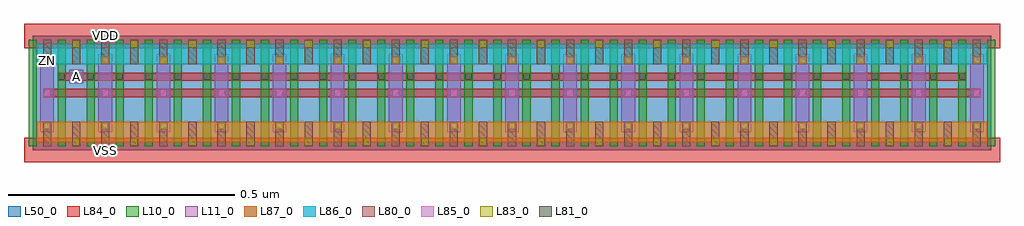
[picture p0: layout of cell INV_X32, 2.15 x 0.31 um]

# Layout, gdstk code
import gdstk
lib = gdstk.Library(unit=1e-6, precision=1e-09)
def R(c, l, rs):  # rectangles x0, y0, x1, y1
    for r in rs: c.add(gdstk.rectangle(r[:2], r[2:], *l))
def A(c, l, x, y, w, h, nx, ny, dx, dy):  # array of equal rectangles
    R(c, l, [(x+i*dx, y+j*dy, x+i*dx+w, y+j*dy+h) for i in range(nx) for j in range(ny)])
L10_0 = (10, 0)
L11_0 = (11, 0)
L50_0 = (50, 0)
L80_0 = (80, 0)
L81_0 = (81, 0)
L83_0 = (83, 0)
L84_0 = (84, 0)
L85_0 = (85, 0)
L86_0 = (86, 0)
L87_0 = (87, 0)

inv_x32 = lib.new_cell('INV_X32')
A(inv_x32, L10_0, 0.077, 0.263, 0.018, 0.234, 5, 1, 0.064, 0)
A(inv_x32, L10_0, 0.397, 0.263, 0.018, 0.234, 4, 1, 0.064, 0)
A(inv_x32, L10_0, 0.653, 0.263, 0.018, 0.234, 4, 1, 0.064, 0)
A(inv_x32, L10_0, 0.909, 0.263, 0.018, 0.234, 4, 1, 0.064, 0)
A(inv_x32, L10_0, 1.165, 0.263, 0.018, 0.234, 4, 1, 0.064, 0)
A(inv_x32, L10_0, 1.421, 0.263, 0.018, 0.234, 4, 1, 0.064, 0)
A(inv_x32, L10_0, 1.677, 0.263, 0.018, 0.234, 4, 1, 0.064, 0)
A(inv_x32, L10_0, 1.933, 0.263, 0.018, 0.234, 5, 1, 0.064, 0)
R(inv_x32, L10_0, [(0.333,0.263,0.351,0.497), (0.397,0.263,0.415,0.497), (0.589,0.263,0.607,0.497), (0.653,0.263,0.671,0.497), (0.845,0.263,0.863,0.497), (0.909,0.263,0.927,0.497), (1.101,0.263,1.119,0.497), (1.165,0.263,1.183,0.497), (1.357,0.263,1.375,0.497), (1.421,0.263,1.439,0.497), (1.613,0.263,1.631,0.497), (1.677,0.263,1.695,0.497), (1.869,0.263,1.887,0.497), (1.933,0.263,1.951,0.497)])
A(inv_x32, L11_0, 0.103, 0.293, 0.03, 0.174, 3, 1, 0.128, 0)
A(inv_x32, L11_0, 0.359, 0.293, 0.03, 0.174, 3, 1, 0.128, 0)
A(inv_x32, L11_0, 0.615, 0.293, 0.03, 0.174, 3, 1, 0.128, 0)
A(inv_x32, L11_0, 0.871, 0.293, 0.03, 0.174, 3, 1, 0.128, 0)
A(inv_x32, L11_0, 1.127, 0.293, 0.03, 0.174, 3, 1, 0.128, 0)
A(inv_x32, L11_0, 1.383, 0.293, 0.03, 0.174, 3, 1, 0.128, 0)
A(inv_x32, L11_0, 1.639, 0.293, 0.03, 0.174, 3, 1, 0.128, 0)
A(inv_x32, L11_0, 1.895, 0.293, 0.03, 0.174, 3, 1, 0.128, 0)
R(inv_x32, L11_0, [(0.167,0.401,0.197,0.431)])
R(inv_x32, L50_0, [(0.086,0.254,1.174,0.506), (1.11,0.254,2.198,0.506)])
A(inv_x32, L80_0, 0.109, 0.263, 0.018, 0.054, 5, 2, 0.064, 0.18)
A(inv_x32, L80_0, 0.365, 0.263, 0.018, 0.054, 5, 2, 0.064, 0.18)
A(inv_x32, L80_0, 0.621, 0.263, 0.018, 0.054, 5, 2, 0.064, 0.18)
A(inv_x32, L80_0, 0.877, 0.263, 0.018, 0.054, 5, 2, 0.064, 0.18)
A(inv_x32, L80_0, 1.133, 0.263, 0.018, 0.054, 5, 2, 0.064, 0.18)
A(inv_x32, L80_0, 1.389, 0.263, 0.018, 0.054, 5, 2, 0.064, 0.18)
A(inv_x32, L80_0, 1.645, 0.263, 0.018, 0.054, 5, 2, 0.064, 0.18)
A(inv_x32, L80_0, 1.901, 0.263, 0.018, 0.054, 5, 2, 0.064, 0.18)
A(inv_x32, L81_0, 0.143, 0.409, 0.014, 0.014, 32, 1, 0.064, 0)
A(inv_x32, L83_0, 0.175, 0.265, 0.014, 0.014, 16, 2, 0.128, 0.216)
A(inv_x32, L83_0, 0.111, 0.301, 0.014, 0.014, 3, 2, 0.128, 0.144)
A(inv_x32, L83_0, 0.367, 0.301, 0.014, 0.014, 3, 2, 0.128, 0.144)
A(inv_x32, L83_0, 0.623, 0.301, 0.014, 0.014, 3, 2, 0.128, 0.144)
A(inv_x32, L83_0, 0.879, 0.301, 0.014, 0.014, 3, 2, 0.128, 0.144)
A(inv_x32, L83_0, 1.135, 0.301, 0.014, 0.014, 3, 2, 0.128, 0.144)
A(inv_x32, L83_0, 1.391, 0.301, 0.014, 0.014, 3, 2, 0.128, 0.144)
A(inv_x32, L83_0, 1.647, 0.301, 0.014, 0.014, 3, 2, 0.128, 0.144)
A(inv_x32, L83_0, 1.903, 0.301, 0.014, 0.014, 3, 2, 0.128, 0.144)
A(inv_x32, L84_0, 0.067, 0.227, 0.358, 0.054, 8, 2, 0.256, 0.252)
A(inv_x32, L84_0, 0.109, 0.299, 0.018, 0.018, 3, 2, 0.128, 0.144)
A(inv_x32, L84_0, 0.365, 0.299, 0.018, 0.018, 3, 2, 0.128, 0.144)
A(inv_x32, L84_0, 0.621, 0.299, 0.018, 0.018, 3, 2, 0.128, 0.144)
A(inv_x32, L84_0, 0.877, 0.299, 0.018, 0.018, 3, 2, 0.128, 0.144)
A(inv_x32, L84_0, 1.133, 0.299, 0.018, 0.018, 3, 2, 0.128, 0.144)
A(inv_x32, L84_0, 1.389, 0.299, 0.018, 0.018, 3, 2, 0.128, 0.144)
A(inv_x32, L84_0, 1.645, 0.299, 0.018, 0.018, 3, 2, 0.128, 0.144)
A(inv_x32, L84_0, 1.901, 0.299, 0.018, 0.018, 3, 2, 0.128, 0.144)
A(inv_x32, L84_0, 0.109, 0.371, 0.274, 0.018, 8, 1, 0.256, 0)
R(inv_x32, L84_0, [(0.141,0.407,0.399,0.425), (0.397,0.407,0.671,0.425), (0.653,0.407,0.911,0.425), (0.909,0.407,1.119,0.425), (1.064,0.407,1.423,0.425), (1.421,0.407,1.695,0.425), (1.677,0.407,1.935,0.425), (1.933,0.407,2.143,0.425)])
A(inv_x32, L85_0, 0.11, 0.3, 0.016, 0.016, 3, 3, 0.128, 0.072)
A(inv_x32, L85_0, 0.366, 0.3, 0.016, 0.016, 3, 3, 0.128, 0.072)
A(inv_x32, L85_0, 0.622, 0.3, 0.016, 0.016, 3, 3, 0.128, 0.072)
A(inv_x32, L85_0, 0.878, 0.3, 0.016, 0.016, 3, 3, 0.128, 0.072)
A(inv_x32, L85_0, 1.134, 0.3, 0.016, 0.016, 3, 3, 0.128, 0.072)
A(inv_x32, L85_0, 1.39, 0.3, 0.016, 0.016, 3, 3, 0.128, 0.072)
A(inv_x32, L85_0, 1.646, 0.3, 0.016, 0.016, 3, 3, 0.128, 0.072)
A(inv_x32, L85_0, 1.902, 0.3, 0.016, 0.016, 3, 3, 0.128, 0.072)
R(inv_x32, L85_0, [(0.174,0.408,0.19,0.424)])
A(inv_x32, L86_0, 0.095, 0.443, 0.302, 0.046, 8, 1, 0.256, 0)
A(inv_x32, L87_0, 0.095, 0.271, 0.302, 0.046, 8, 1, 0.256, 0)
inv_x32.add(gdstk.Label('VDD', (0.246,0.506), layer=88, texttype=0))
inv_x32.add(gdstk.Label('VSS', (0.246,0.254), layer=88, texttype=0))
inv_x32.add(gdstk.Label('ZN', (0.118,0.452), layer=31, texttype=0))
inv_x32.add(gdstk.Label('A', (0.182,0.416), layer=31, texttype=0))

lib.write_gds('INV_X32.gds')
